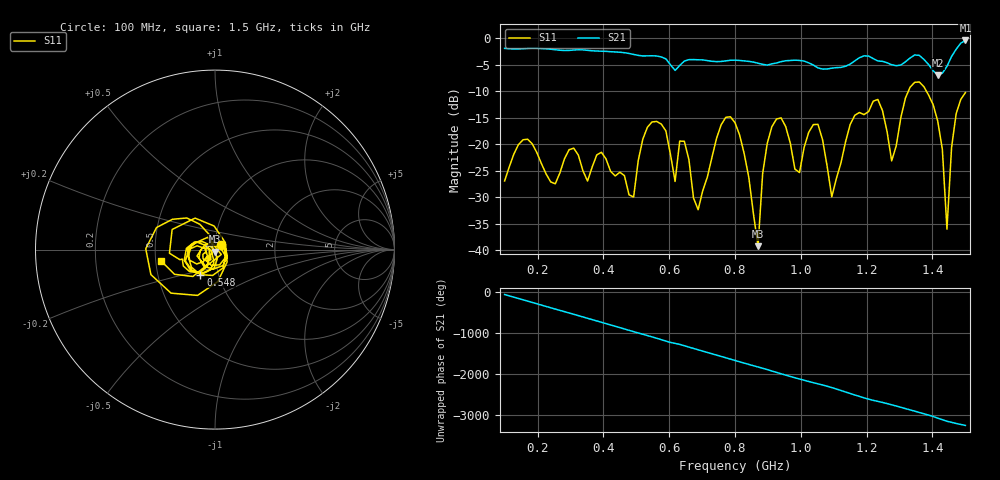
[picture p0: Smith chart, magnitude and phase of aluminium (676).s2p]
! NanoVNA-App
! Date: 2025-09-25 15:00:32
! Start: 100MHz Stop: 1,5GHz Points: 101
! S-Parameter data: F S11 S21 S12 S22
# Hz S RI R 50
!  Frequency  S11_Real  S11_Imag  S21_Real  S21_Imag  S12_Real  S12_Imag  S22_Real  S22_Imag
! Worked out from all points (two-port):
!   101 points, 100 MHz to 1.5 GHz, reference 50 ohm
!   highest |S21| = -0.42 dB at 1.5 GHz (marker M1); lowest = -7.0 dB at 1.416 GHz (marker M2)
!   |S21| within 3 dB of the highest: start of sweep to 567.4 MHz; 1.458 GHz to end of sweep (the widest 2 of 4)
!   lowest |S11| = -39.3 dB at 870 MHz (marker M3), VSWR 1.02, Z = 50.2 - j1.08 ohm
!   |S11| at or under -10 dB: start of sweep to 1.327 GHz; 1.382 GHz to end of sweep
!   S12 and S22 are empty: the file has one direction only
!   S11 on the Smith chart (normalised r, x): 100 MHz: 1.07, +0.06; 548 MHz: 0.82, -0.23; 1.5 GHz: 0.54, -0.08
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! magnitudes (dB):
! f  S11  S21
! 100 MHz  -27.0  -1.9
! 156 MHz  -19.2  -2.0
! 338 MHz  -25.0  -2.2
! 492 MHz  -30.0  -3.1
! 548 MHz  -15.8  -3.3
! 576 MHz  -16.2  -3.5
! 618 MHz  -27.1  -6.1
! 646 MHz  -19.5  -4.3
! 688 MHz  -32.4  -4.1
! 800 MHz  -16.0  -4.1
! 870 MHz  -39.3  -4.7
! 912 MHz  -16.7  -4.8
! 996 MHz  -25.4  -4.2
! 1.038 GHz  -16.3  -5.1
! 1.094 GHz  -30.0  -5.7
! 1.22 GHz  -11.9  -3.9
! 1.276 GHz  -23.2  -5.0
! 1.346 GHz  -8.3  -3.2
! 1.416 GHz  -15.7  -7.0
! 1.444 GHz  -36.1  -5.3
! 1.458 GHz  -20.6  -3.5
! 1.5 GHz  -10.3  -0.4
